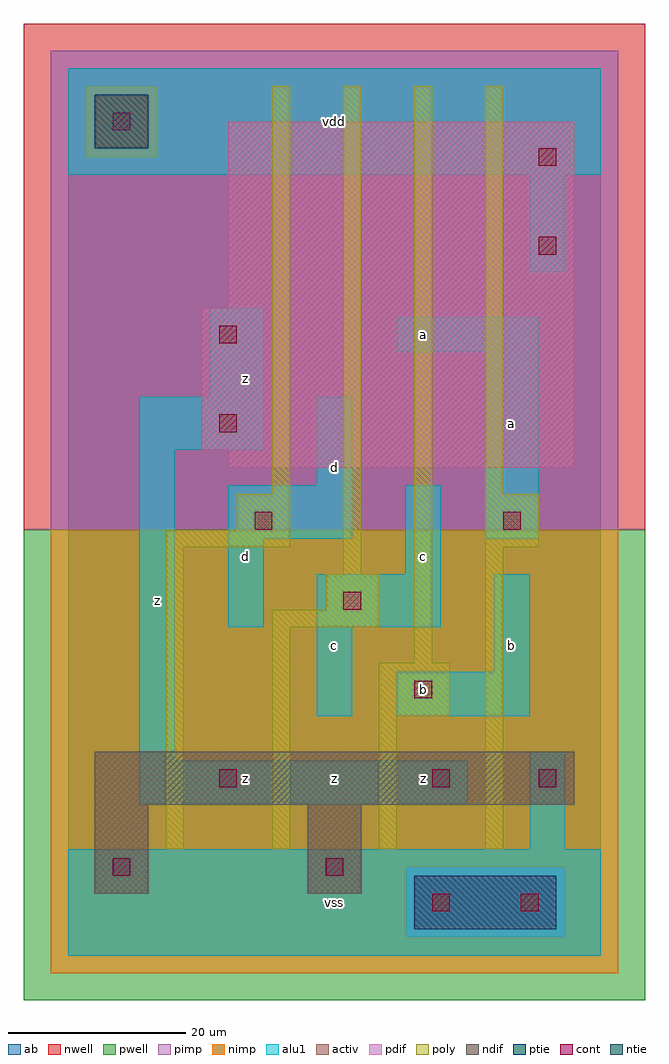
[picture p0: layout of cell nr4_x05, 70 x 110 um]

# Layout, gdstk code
import gdstk
lib = gdstk.Library(unit=1e-6, precision=1e-09)
def R(c, l, rs):  # rectangles x0, y0, x1, y1
    for r in rs: c.add(gdstk.rectangle(r[:2], r[2:], *l))
ndif = (3, 0)
pdif = (4, 0)
ntie = (5, 0)
ptie = (6, 0)
cont = (25, 0)
pwell = (41, 0)
nwell = (42, 0)
activ = (43, 0)
pimp = (44, 0)
nimp = (45, 0)
poly = (46, 0)
alu1 = (49, 0)
ab = (63, 0)

nr4_x05 = lib.new_cell('nr4_x05')
R(nr4_x05, ndif, [(3,7,9,17), (27,7,33,17), (3,17,57,23)])
R(nr4_x05, pdif, [(18,55,57,57), (15,57,57,73), (18,73,57,94)])
R(nr4_x05, ntie, [(3,91,9,97)])
R(nr4_x05, ptie, [(39,3,55,9)])
R(nr4_x05, cont, [(41,5,43,7), (51,5,53,7), (5,9,7,11), (29,9,31,11), (17,19,19,21), (41,19,43,21), (53,19,55,21), (39,29,41,31), (31,39,33,41), (21,48,23,50), (49,48,51,50), (17,59,19,61), (17,69,19,71), (53,79,55,81), (53,89,55,91), (5,93,7,95)])
R(nr4_x05, pwell, [(-5,-5,65,48)])
R(nr4_x05, nwell, [(-5,48,65,105)])
R(nr4_x05, activ, [(39,3,55,9), (3,7,9,17), (27,7,33,17), (3,17,57,23), (18,55,57,57), (15,57,57,73), (18,73,57,94), (3,91,9,97)])
R(nr4_x05, pimp, [(38,2,56,10), (-2,48,62,90), (-2,90,2,98), (10,90,62,98), (-2,98,62,102)])
R(nr4_x05, nimp, [(-2,-2,62,2), (-2,2,38,10), (56,2,62,10), (-2,10,62,48), (2,90,10,98)])
R(nr4_x05, poly, [(11,12,13,46), (23,12,25,37), (35,12,37,27), (47,12,49,46), (35,27,43,33), (39,33,41,98), (23,37,35,39), (29,39,35,43), (31,43,33,98), (11,46,25,48), (47,46,53,52), (19,48,25,52), (23,52,25,98), (47,52,49,98)])
R(nr4_x05, alu1, [(0,0,60,12), (52,12,56,23), (8,17,45,22), (8,22,12,57), (28,27,32,37), (37,27,52,32), (48,32,52,43), (18,37,22,47), (28,37,42,43), (38,43,42,53), (18,47,32,53), (47,47,53,68), (28,53,32,63), (8,57,22,63), (16,63,22,73), (37,68,53,72), (52,77,56,88), (0,88,60,100)])
R(nr4_x05, ab, [(0,0,60,100)])
nr4_x05.add(gdstk.Label('z', (10,40), layer=49, texttype=0))
nr4_x05.add(gdstk.Label('z', (20,20), layer=49, texttype=0))
nr4_x05.add(gdstk.Label('d', (20,45), layer=49, texttype=0))
nr4_x05.add(gdstk.Label('z', (20,65), layer=49, texttype=0))
nr4_x05.add(gdstk.Label('z', (30,20), layer=49, texttype=0))
nr4_x05.add(gdstk.Label('vss', (30,6), layer=49, texttype=0))
nr4_x05.add(gdstk.Label('z', (40,20), layer=49, texttype=0))
nr4_x05.add(gdstk.Label('c', (30,35), layer=49, texttype=0))
nr4_x05.add(gdstk.Label('c', (40,45), layer=49, texttype=0))
nr4_x05.add(gdstk.Label('b', (40,30), layer=49, texttype=0))
nr4_x05.add(gdstk.Label('d', (30,55), layer=49, texttype=0))
nr4_x05.add(gdstk.Label('a', (40,70), layer=49, texttype=0))
nr4_x05.add(gdstk.Label('vdd', (30,94), layer=49, texttype=0))
nr4_x05.add(gdstk.Label('b', (50,35), layer=49, texttype=0))
nr4_x05.add(gdstk.Label('a', (50,60), layer=49, texttype=0))

lib.write_gds('nr4_x05.gds')
